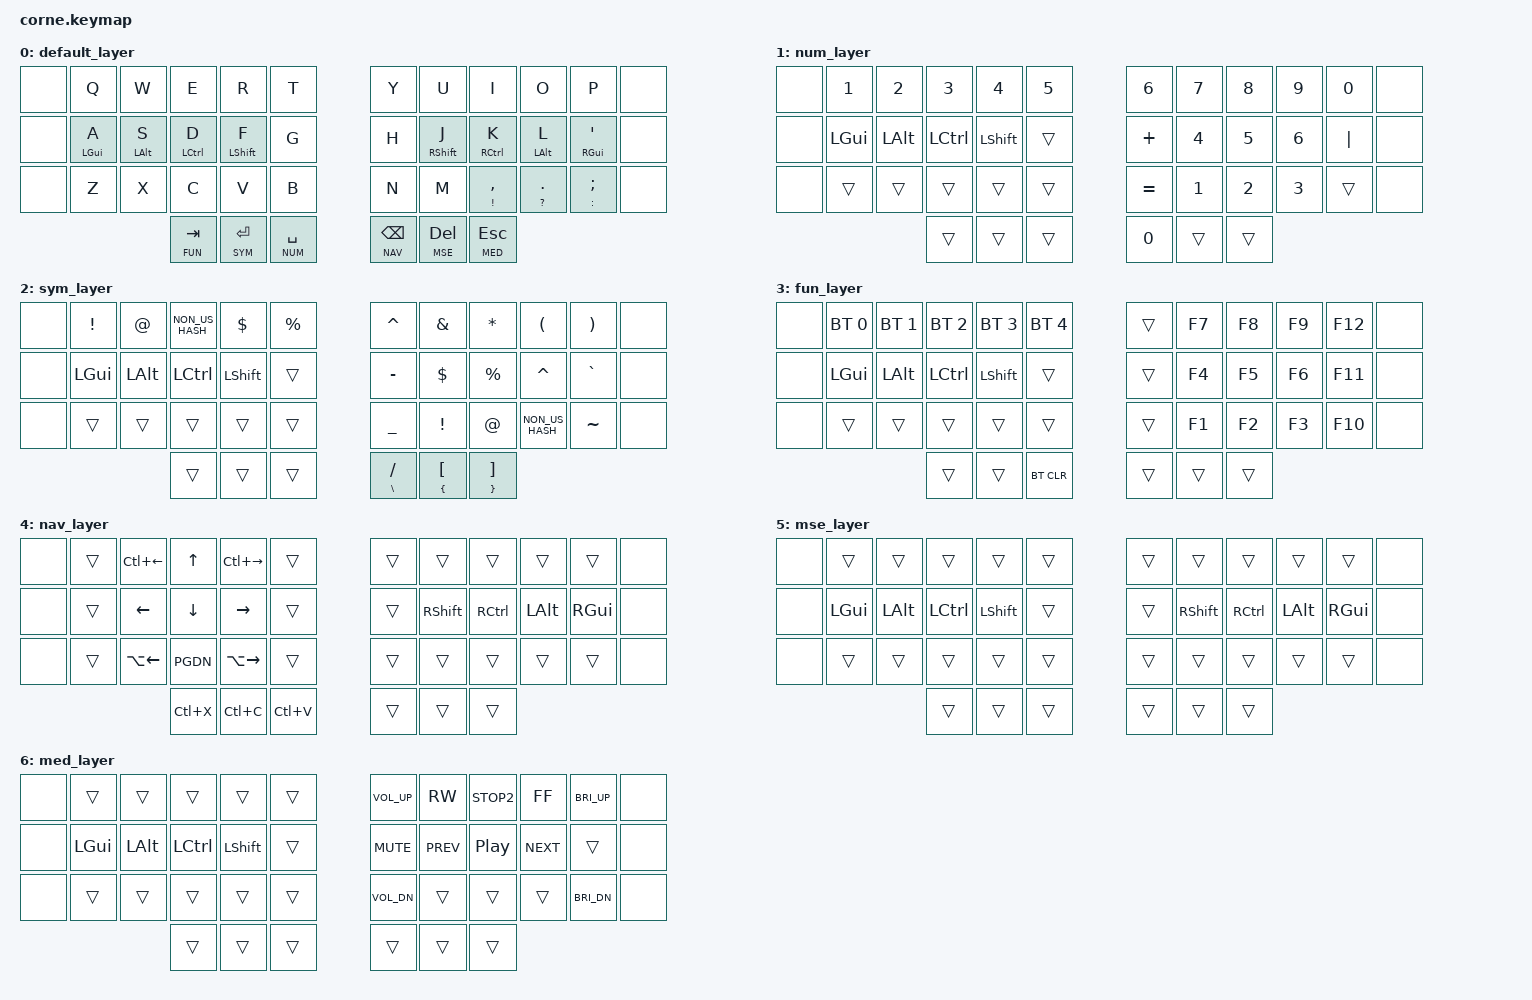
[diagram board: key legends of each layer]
/*
 * Copyright (c) 2020 The ZMK Contributors
 *
 * SPDX-License-Identifier: MIT
 */

#include <behaviors.dtsi>
#include <dt-bindings/zmk/keys.h>
#include <dt-bindings/zmk/bt.h>

#define DEFAULT 0
#define NUM 1
#define SYM 2
#define FUN 3
#define NAV 4
#define MSE 5
#define MED 6

&lt {
	tapping-term-ms = <300>;
	quick_tap_ms = <200>;
	flavor = "hold-preferred";
	};

/ {

combos {
	compatible = "zmk,combos";
	combo_caps {
		timeout-ms = <50>;
		key-positions = <02 04>;
		bindings = <&kp CAPS>;
		layers = <DEFAULT>;
		};
	};

behaviors {
	hmi: homerow_mods_index {
		compatible = "zmk,behavior-hold-tap";
		label = "HOMEROW_MODS_INDEX";
		#binding-cells = <2>;
		tapping-term-ms = <180>;
		quick_tap_ms = <0>;
		flavor = "tap-preferred";
		bindings = <&kp>, <&kp>;
		};
	hmr: homerow_mods_ring {
		compatible = "zmk,behavior-hold-tap";
		label = "HOMEROW_MODS_RING";
		#binding-cells = <2>;
		tapping-term-ms = <210>;
		quick_tap_ms = <0>;
		flavor = "tap-preferred";
		bindings = <&kp>, <&kp>;
		};
	hml: homerow_mods_long {
		compatible = "zmk,behavior-hold-tap";
		label = "HOMEROW_MODS_LONG";
		#binding-cells = <2>;
		tapping-term-ms = <300>;
		quick_tap_ms = <0>;
		flavor = "tap-preferred";
		bindings = <&kp>, <&kp>;
		};
	};

        keymap {
                compatible = "zmk,keymap";

default_layer {
		bindings = <
		&none       &kp Q       &kp W       &kp E        &kp R        &kp T           &kp Y     &kp U        &kp I            &kp O          &kp P       &none
		&none       &hmr LGUI A &hmr LALT S &hmi LCTRL D &hmi LSHFT F &kp G           &kp H     &hmi RSHFT J &hmi RCTRL K     &hmr LALT L    &hmr RGUI SQT       &none
		&none       &kp Z       &kp X       &kp C        &kp V        &kp B           &kp N     &kp M        &hmi EXCL COMMA  &hmr QMARK DOT &hmr COLON SEMI    &none
		                       &lt FUN TAB   &lt SYM RET  &lt NUM SPACE             &lt NAV BSPC   &lt MSE DEL   &lt MED ESC
		>;
	};
	num_layer {
		bindings = <
		&none		&kp N1		&kp N2		&kp N3		&kp N4		&kp N5				&kp N6		&kp N7		&kp N8		&kp N9		&kp N0		&none
		&none		&kp LGUI	&kp LALT	&kp LCTRL	&kp LSHFT	&trans				&kp PLUS	&kp N4		&kp N5 		&kp N6		&kp PIPE	&none
		&none		&trans		&trans		&trans		&trans		&trans				&kp EQUAL	&kp N1		&kp N2		&kp N3		&trans		&none
											&trans		&trans		&trans				&kp N0		&trans		&trans
		>;
	};
	sym_layer {
		bindings = <
		&none		&kp EXCL	&kp AT		&kp NON_US_HASH	&kp DLLR	&kp PRCNT			&kp CARET		&kp AMPS		&kp STAR		&kp LPAR		&kp RPAR		&none
		&none		&kp LGUI	&kp LALT	&kp LCTRL		&kp LSHFT	&trans				&kp MINUS		&kp DLLR		&kp PRCNT		&kp CARET		&kp GRAVE			&none
		&none		&trans		&trans		&trans			&trans		&trans				&kp UNDER		&kp EXCL		&kp AT			&kp NON_US_HASH	&kp TILDE		&none
											&trans			&trans		&trans				&hml BSLH FSLH	&hml LBRC LBKT	&hml RBRC RBKT
		>;
	};
	fun_layer {
		bindings = <
		&none       &bt BT_SEL 0 &bt BT_SEL 1 &bt BT_SEL 2 &bt BT_SEL 3 &bt BT_SEL 4		&trans		&kp F7		&kp F8		&kp F9		&kp F12		&none
		&none       &kp LGUI	&kp LALT	&kp LCTRL		&kp LSHFT	&trans				&trans		&kp F4		&kp F5		&kp F6		&kp F11		&none
		&none       &trans		&trans		&trans			&trans		&trans				&trans		&kp F1		&kp F2		&kp F3		&kp F10		&none
											&trans			&trans		&bt BT_CLR			&trans		&trans		&trans
		>;
	};
	nav_layer {
		bindings = <
		&none       &trans		&kp LC(LEFT)	&kp UP			&kp LC(RIGHT)	&trans					&trans		&trans		&trans		&trans		&trans		&none
		&none       &trans		&kp LEFT		&kp DOWN		&kp RIGHT		&trans					&trans		&kp RSHFT	&kp RCTRL	&kp LALT	&kp RGUI	&none
		&none       &trans		&kp LA(LEFT)	&kp PGDN		&kp LA(RIGHT)	&trans					&trans		&trans		&trans		&trans		&trans		&none
												&kp LC(X)		&kp LC(C)		&kp LC(V)				&trans		&trans		&trans
		>;
	};
	mse_layer {
		bindings = <
		&none		&trans		&trans		&trans			&trans		&trans					&trans		&trans		&trans		&trans		&trans		&none
		&none       &kp LGUI	&kp LALT	&kp LCTRL		&kp LSHFT	&trans					&trans		&kp RSHFT	&kp RCTRL	&kp LALT	&kp RGUI	&none
		&none		&trans		&trans		&trans			&trans		&trans					&trans		&trans		&trans		&trans		&trans		&none
												&trans		&trans		&trans					&trans		&trans		&trans
		>;
	};
	med_layer {
	bindings = <
		&none       &trans     &trans     &trans     &trans     &trans             &kp C_VOL_UP &kp C_RW   &kp K_STOP2 &kp C_FF   &kp C_BRI_UP  &none
		&none       &kp LGUI   &kp LALT   &kp LCTRL  &kp LSHFT  &trans             &kp K_MUTE   &kp C_PREV &kp C_PP    &kp C_NEXT &trans        &none
		&none       &trans     &trans     &trans     &trans     &trans             &kp C_VOL_DN &trans     &trans      &trans     &kp C_BRI_DN  &none
		                                  &trans     &trans     &trans             &trans       &trans     &trans
		>;
	};
	};
	};
